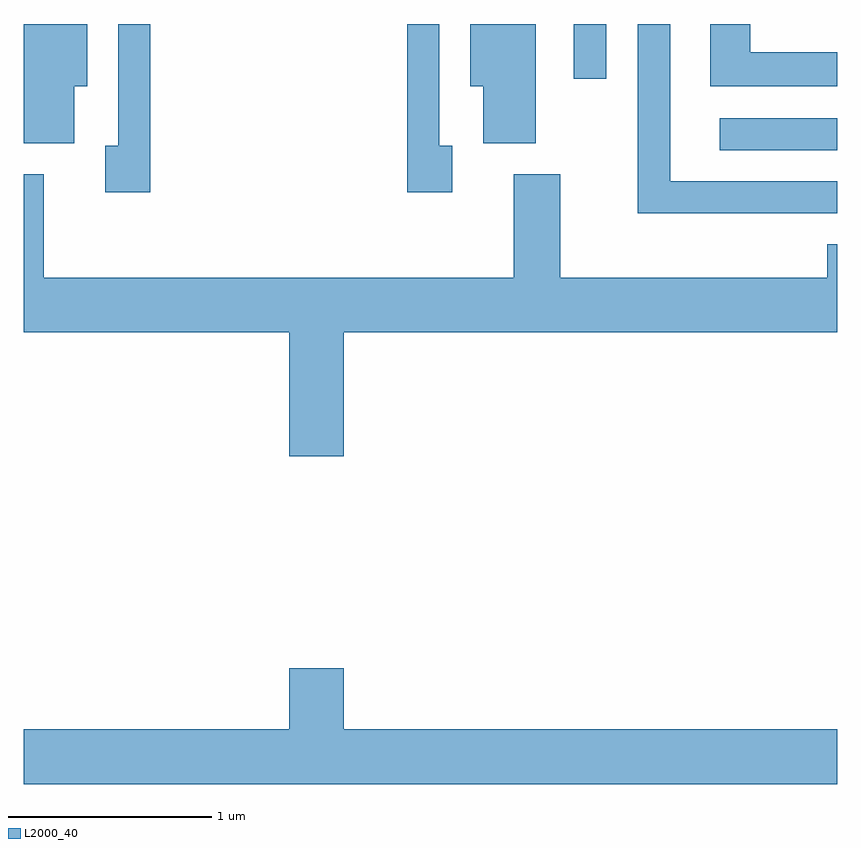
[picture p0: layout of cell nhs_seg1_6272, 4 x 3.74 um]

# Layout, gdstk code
import gdstk
lib = gdstk.Library(unit=1e-6, precision=1e-09)
def R(c, l, rs):  # rectangles x0, y0, x1, y1
    for r in rs: c.add(gdstk.rectangle(r[:2], r[2:], *l))
def P(c, l, *ps):  # polygons
    for p in ps: c.add(gdstk.Polygon(p, *l))
L2000_40 = (2000, 40)

nhs_seg1_6272 = lib.new_cell('nhs_seg1_6272')
R(nhs_seg1_6272, L2000_40, [(377.033,947.091,377.611,947.249), (376.316,947.443,376.474,947.712)])
P(nhs_seg1_6272, L2000_40, [(373.859,947.406),(373.924,947.406),(373.924,947.712),(373.611,947.712),(373.611,947.126),(373.859,947.126)],
  [(374.234,947.712),(374.076,947.712),(374.076,947.114),(374.011,947.114),(374.011,946.886),(374.234,946.886)],
  [(377.611,946.939),(376.789,946.939),(376.789,947.712),(376.631,947.712),(376.631,946.781),(377.611,946.781)],
  [(375.719,947.114),(375.654,947.114),(375.654,947.712),(375.496,947.712),(375.496,946.886),(375.719,946.886)],
  [(377.611,947.574),(377.184,947.574),(377.184,947.712),(376.986,947.712),(376.986,947.406),(377.611,947.406)],
  [(376.129,947.712),(375.806,947.712),(375.806,947.406),(375.871,947.406),(375.871,947.126),(376.129,947.126)],
  [(375.184,946.196),(377.611,946.196),(377.611,946.629),(377.561,946.629),(377.561,946.464),(376.249,946.464),(376.249,946.974),(376.021,946.974),(376.021,946.464),(373.709,946.464),(373.709,946.974),(373.611,946.974),(373.611,946.196),(374.916,946.196),(374.916,945.586),(375.184,945.586)],
  [(377.611,944.244),(375.184,944.244),(375.184,944.544),(374.916,944.544),(374.916,944.244),(373.611,944.244),(373.611,943.976),(377.611,943.976)])

lib.write_gds('nhs_seg1_6272.gds')
